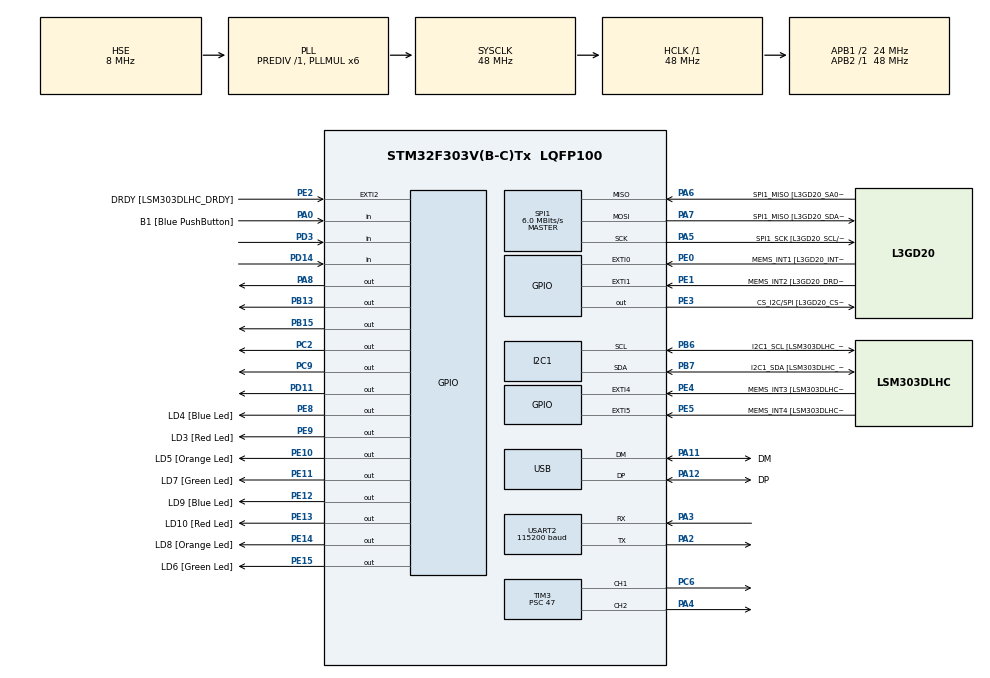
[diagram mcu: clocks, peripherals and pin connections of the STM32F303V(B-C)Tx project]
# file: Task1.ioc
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I2C1.Timing=0x00201D2B
I2C1.Timing-I2C=0x2000090E
Mcu.Family=STM32F3
Mcu.Name=STM32F303V(B-C)Tx
Mcu.Package=LQFP100
NVIC.PriorityGroup=NVIC_PRIORITYGROUP_0
NVIC.SPI1_IRQn=true\:0\:0\:false\:false\:true\:true\:true\:true
NVIC.TIM2_IRQn=true\:0\:0\:false\:false\:true\:true\:true\:true
PA0.GPIO_Label=B1 [Blue PushButton]
PA0.Signal=GPIO_Input
PA11.GPIO_Label=DM
PA11.Mode=Device
PA11.Signal=USB_DM
PA12.GPIO_Label=DP
PA12.Mode=Device
PA12.Signal=USB_DP
PA13.GPIO_Label=SWDIO
PA13.Mode=Serial_Wire
PA13.Signal=SYS_JTMS-SWDIO
PA14.GPIO_Label=SWCLK
PA14.Mode=Serial_Wire
PA14.Signal=SYS_JTCK-SWCLK
PA2.Mode=Asynchronous
PA2.Signal=USART2_TX
PA3.Mode=Asynchronous
PA3.Signal=USART2_RX
PA4.Signal=S_TIM3_CH2
PA5.GPIO_Label=SPI1_SCK [L3GD20_SCL/SPC]
PA5.Mode=Full_Duplex_Master
PA5.Signal=SPI1_SCK
PA6.GPIO_Label=SPI1_MISO [L3GD20_SA0/SDO]
PA6.Mode=Full_Duplex_Master
PA6.Signal=SPI1_MISO
PA7.GPIO_Label=SPI1_MISO [L3GD20_SDA/SDI/SDO]
PA7.Mode=Full_Duplex_Master
PA7.Signal=SPI1_MOSI
PA8.Signal=GPIO_Output
PB13.Signal=GPIO_Output
PB15.Signal=GPIO_Output
PB3.GPIO_Label=SWO
PB3.Signal=SYS_JTDO-TRACESWO
PB6.GPIO_Label=I2C1_SCL [LSM303DLHC_SCL]
PB6.GPIO_Pu=GPIO_PULLUP
PB6.Mode=I2C
PB6.Signal=I2C1_SCL
PB7.GPIO_Label=I2C1_SDA [LSM303DLHC_SDA]
PB7.GPIO_Pu=GPIO_PULLUP
PB7.Mode=I2C
PB7.Signal=I2C1_SDA
PC14-OSC32_IN.GPIO_Label=OSC32_IN
PC14-OSC32_IN.Signal=RCC_OSC32_IN
PC15-OSC32_OUT.GPIO_Label=OSC32_OUT
PC15-OSC32_OUT.Signal=RCC_OSC32_OUT
PC2.Signal=GPIO_Output
PC6.Signal=S_TIM3_CH1
PC9.Signal=GPIO_Output
PD11.Signal=GPIO_Output
PD14.Signal=GPIO_Input
PD3.Signal=GPIO_Input
PE0.GPIO_Label=MEMS_INT1 [L3GD20_INT1]
PE0.GPIO_ModeDefaultEXTI=GPIO_MODE_EVT_RISING
PE0.Signal=GPXTI0
PE1.GPIO_Label=MEMS_INT2 [L3GD20_DRDY/INT2]
PE1.GPIO_ModeDefaultEXTI=GPIO_MODE_EVT_RISING
PE1.Signal=GPXTI1
PE10.GPIO_Label=LD5 [Orange Led]
PE10.Signal=GPIO_Output
PE11.GPIO_Label=LD7 [Green Led]
PE11.Signal=GPIO_Output
PE12.GPIO_Label=LD9 [Blue Led]
PE12.Signal=GPIO_Output
PE13.GPIO_Label=LD10 [Red Led]
PE13.Signal=GPIO_Output
PE14.GPIO_Label=LD8 [Orange Led]
PE14.Signal=GPIO_Output
PE15.GPIO_Label=LD6 [Green Led]
PE15.Signal=GPIO_Output
PE2.GPIO_Label=DRDY [LSM303DLHC_DRDY]
PE2.GPIO_ModeDefaultEXTI=GPIO_MODE_EVT_RISING
PE2.Signal=GPXTI2
PE3.GPIO_Label=CS_I2C/SPI [L3GD20_CS_I2C/SPI]
PE3.Signal=GPIO_Output
PE4.GPIO_Label=MEMS_INT3 [LSM303DLHC_INT1]
PE4.GPIO_ModeDefaultEXTI=GPIO_MODE_EVT_RISING
PE4.Signal=GPXTI4
PE5.GPIO_Label=MEMS_INT4 [LSM303DLHC_INT2]
PE5.GPIO_ModeDefaultEXTI=GPIO_MODE_EVT_RISING
PE5.Signal=GPXTI5
PE8.GPIO_Label=LD4 [Blue Led]
PE8.Signal=GPIO_Output
PE9.GPIO_Label=LD3 [Red Led]
PE9.Signal=GPIO_Output
PF0-OSC_IN.GPIO_Label=OSC_IN
PF0-OSC_IN.Mode=HSE-External-Clock-Source
PF0-OSC_IN.Signal=RCC_OSC_IN
PF1-OSC_OUT.GPIO_Label=OSC_OUT
PF1-OSC_OUT.Signal=RCC_OSC_OUT
ProjectManager.HeapSize=0x200
ProjectManager.StackSize=0x400
ProjectManager.TargetToolchain=CMake
RCC.AHBFreq_Value=48000000
RCC.APB1CLKDivider=RCC_HCLK_DIV2
RCC.APB1Freq_Value=24000000
RCC.APB1TimFreq_Value=48000000
RCC.APB2Freq_Value=48000000
RCC.APB2TimFreq_Value=48000000
RCC.CortexFreq_Value=48000000
RCC.HCLKFreq_Value=48000000
RCC.HSE_VALUE=8000000
RCC.HSI_VALUE=8000000
RCC.LSE_VALUE=32768
RCC.PLLMUL=RCC_PLL_MUL6
RCC.SYSCLKFreq_VALUE=48000000
RCC.SYSCLKSourceVirtual=RCC_SYSCLKSOURCE_PLLCLK
RCC.USBFreq_Value=48000000
SH.S_TIM3_CH1.0=TIM3_CH1,PWM Generation1 CH1
SH.S_TIM3_CH2.0=TIM3_CH2,PWM Generation2 CH2
SPI1.BaudRatePrescaler=SPI_BAUDRATEPRESCALER_8
SPI1.BaudRatePrescaler-Full_Duplex_Master=SPI_BAUDRATEPRESCALER_2
SPI1.CLKPhase=SPI_PHASE_2EDGE
SPI1.CLKPolarity=SPI_POLARITY_HIGH
SPI1.CalculateBaudRate=6.0 MBits/s
SPI1.CalculateBaudRate-Full_Duplex_Master=24.0 MBits/s
SPI1.DataSize=SPI_DATASIZE_8BIT
SPI1.Direction=SPI_DIRECTION_2LINES
SPI1.Mode=SPI_MODE_MASTER
SPI1.Mode-Full_Duplex_Master=SPI_MODE_MASTER
SPI1.VirtualType=VM_MASTER
TIM2.Prescaler=47
TIM3.Channel-PWM\ Generation1\ CH1=TIM_CHANNEL_1
TIM3.Channel-PWM\ Generation2\ CH2=TIM_CHANNEL_2
TIM3.Period=999
TIM3.Prescaler=47
TIM3.Pulse-PWM\ Generation1\ CH1=500
USART2.BaudRate=115200
USART2.VirtualMode-Asynchronous=VM_ASYNC
VP_TIM2_VS_ClockSourceINT.Mode=Internal
board=STM32F3DISCOVERY

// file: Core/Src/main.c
/* USER CODE BEGIN Header */
/**
  ******************************************************************************
  * @file           : main.c
  * @brief          : Main program body
  ******************************************************************************
  * @attention
  *
  * Copyright (c) 2026 STMicroelectronics.
  * All rights reserved.
  *
  * This software is licensed under terms that can be found in the LICENSE file
  * in the root directory of this software component.
  * If no LICENSE file comes with this software, it is provided AS-IS.
  *
  ******************************************************************************
  */
/* USER CODE END Header */
#include "main.h"

/* USER CODE BEGIN Includes */

#include "stdarg.h"
#include "stdio.h"
#include "stm32f3xx_hal.h"
#include <string.h>
#include <math.h>

/* USER CODE END Includes */

I2C_HandleTypeDef hi2c1;

SPI_HandleTypeDef hspi1;

TIM_HandleTypeDef htim2;
TIM_HandleTypeDef htim3;

UART_HandleTypeDef huart2;

PCD_HandleTypeDef hpcd_USB_FS;

/* USER CODE BEGIN PV */

volatile float filtered_angle = 0.0f;
volatile float raw_acc_angle = 0.0f;
volatile float raw_gyro_rate = 0.0f;
volatile uint8_t data_ready = 0;
const float dt = 0.1f;

/* USER CODE END PV */

void SystemClock_Config(void);
static void MX_GPIO_Init(void);
static void MX_I2C1_Init(void);
static void MX_SPI1_Init(void);
static void MX_TIM3_Init(void);
static void MX_USB_PCD_Init(void);
static void MX_TIM2_Init(void);
static void MX_USART2_UART_Init(void);

/* USER CODE BEGIN 0 */

/* ---- Configuration Parameters ---- */
#define DT 0.01f                    // Complementary filter time step
#define COMP_FILTER_ALPHA 0.98f     // Gyro weight

/* ---- Accelerometer Configuration ---- */
#define LSM_ADDR_WRITE  0x32        // write address
#define LSM_ADDR_READ   0x33        // read address
#define CTRL_REG1_A     0x20        // Control register 1
#define CTRL_REG4_A     0x23        // Control register 4
#define OUT_X_L_A       0x28        // Output X low byte
#define LSM_INIT_CTRL1  0x67        // 100Hz, all axes enabled
#define LSM_INIT_CTRL4  0x00        // Normal mode
#define ACC_SCALE       0.0039f     // 3.9 mg/digit scale factor

/* ---- Gyroscope Configuration ---- */
#define GYRO_CTRL_REG1  0x20        // Control register 1
#define GYRO_OUT_X_L    0x28        // Output X low byte
#define GYRO_INIT_CTRL1 0x8F        // 95Hz ODR, all axes enabled
#define GYRO_SCALE      0.00875f    // 0.875 dps/digit scale factor
#define SPI_READ_BIT    0x80        // SPI read mode bit
#define SPI_AUTOINC_BIT 0x40        // SPI auto-increment bit

/* ---- Calibration Parameters ---- */
#define CALIB_SAMPLES   20          // Number of samples for offset calibration
#define CALIB_DELAY_MS  10          // Delay between calibration samples
#define ACC_Z_GRAVITY   1.0f        // Expected Z-axis acceleration at rest

typedef struct {
    // Accelerometer
    int16_t acc_raw_x, acc_raw_y, acc_raw_z;
    float acc_x, acc_y, acc_z;
    float acc_x_offset, acc_y_offset, acc_z_offset;

    // Gyroscope
    int16_t gyro_raw_x, gyro_raw_y, gyro_raw_z;
    float gyro_x, gyro_y, gyro_z;
    float gyro_x_offset, gyro_y_offset, gyro_z_offset;

    // Filtered Angles
    float angle_x; // Roll
    float angle_y; // Pitch
} SensorData;
/* USER CODE END PTD */

/* USER CODE BEGIN PD */

SensorData sens;

//acclereometer init and read functions
void Init_LSM(void) {
    uint8_t ctrl1 = LSM_INIT_CTRL1;  // all axes enabled
    HAL_I2C_Mem_Write(&hi2c1, LSM_ADDR_WRITE, CTRL_REG1_A, 1, &ctrl1, 1, HAL_MAX_DELAY);

    uint8_t ctrl4 = LSM_INIT_CTRL4;  // Normal mode configuration
    HAL_I2C_Mem_Write(&hi2c1, LSM_ADDR_WRITE, CTRL_REG4_A, 1, &ctrl4, 1, HAL_MAX_DELAY);
}

void Read_LSM(void) {
    uint8_t buffer[6];
    HAL_I2C_Mem_Read(&hi2c1, LSM_ADDR_READ, OUT_X_L_A | 0x80, 1, buffer, 6, HAL_MAX_DELAY);

    sens.acc_raw_x = (int16_t)((buffer[1] << 8) | buffer[0]);
    sens.acc_raw_y = (int16_t)((buffer[3] << 8) | buffer[2]);
    sens.acc_raw_z = (int16_t)((buffer[5] << 8) | buffer[4]);

    // Convert raw to acceleration and apply offset
    sens.acc_x = (sens.acc_raw_x * ACC_SCALE) - sens.acc_x_offset;
    sens.acc_y = (sens.acc_raw_y * ACC_SCALE) - sens.acc_y_offset;
    sens.acc_z = (sens.acc_raw_z * ACC_SCALE) - sens.acc_z_offset;
}

// gyro init and read functions
void Init_Gyro(void) {
    uint8_t tx[2] = {GYRO_CTRL_REG1, GYRO_INIT_CTRL1};
    HAL_GPIO_WritePin(GPIOE, GPIO_PIN_3, GPIO_PIN_RESET);  // CS LOW
    HAL_SPI_Transmit(&hspi1, tx, 2, HAL_MAX_DELAY);
    HAL_GPIO_WritePin(GPIOE, GPIO_PIN_3, GPIO_PIN_SET);    // CS HIGH
}

void Read_Gyro(void) {
    uint8_t tx = GYRO_OUT_X_L | 0x80 | 0x40;  // Read bit + auto-increment bit
    uint8_t rx[6] = {0};

    HAL_GPIO_WritePin(GPIOE, GPIO_PIN_3, GPIO_PIN_RESET);
    HAL_SPI_Transmit(&hspi1, &tx, 1, HAL_MAX_DELAY);
    HAL_SPI_Receive(&hspi1, rx, 6, HAL_MAX_DELAY);
    HAL_GPIO_WritePin(GPIOE, GPIO_PIN_3, GPIO_PIN_SET);

    sens.gyro_raw_x = (int16_t)((rx[1] << 8) | rx[0]);
    sens.gyro_raw_y = (int16_t)((rx[3] << 8) | rx[2]);
    sens.gyro_raw_z = (int16_t)((rx[5] << 8) | rx[4]);

    // Convert raw to angular velocity (dps) and apply offset
    sens.gyro_x = (sens.gyro_raw_x * GYRO_SCALE) - sens.gyro_x_offset;
    sens.gyro_y = (sens.gyro_raw_y * GYRO_SCALE) - sens.gyro_y_offset;
    sens.gyro_z = (sens.gyro_raw_z * GYRO_SCALE) - sens.gyro_z_offset;
}

void Offset_Sensors(void) {
    // Initialize accumulator variables
    float sum_ax = 0.0f, sum_ay = 0.0f, sum_az = 0.0f;
    float sum_gx = 0.0f, sum_gy = 0.0f, sum_gz = 0.0f;

    // Collect multiple samples for averaging
    for (uint8_t i = 0; i < CALIB_SAMPLES; i++) {
        Read_LSM();
        Read_Gyro();

        sum_ax += sens.acc_x;
        sum_ay += sens.acc_y;
        sum_az += (sens.acc_z - ACC_Z_GRAVITY);  // Remove gravity offset from Z

        sum_gx += sens.gyro_x;
        sum_gy += sens.gyro_y;
        sum_gz += sens.gyro_z;

        HAL_Delay(CALIB_DELAY_MS);
    }

    // Calculate and store average offsets
    float scale = 1.0f / CALIB_SAMPLES;
    sens.acc_x_offset = sum_ax * scale;
    sens.acc_y_offset = sum_ay * scale;
    sens.acc_z_offset = sum_az * scale;

    sens.gyro_x_offset = sum_gx * scale;
    sens.gyro_y_offset = sum_gy * scale;
    sens.gyro_z_offset = sum_gz * scale;
}

void Calculate_Angle(void) {
    // Calculate tilt angles from accelerometer
    float acc_angle_x = atan2f(sens.acc_y, sens.acc_z) * (180.0f / 3.14159f);
    float acc_angle_y = atan2f(-sens.acc_x, sqrtf(sens.acc_y * sens.acc_y + sens.acc_z * sens.acc_z)) * (180.0f / 3.14159f);

    float gyro_weight = COMP_FILTER_ALPHA;
    float acc_weight = 1.0f - gyro_weight;

    sens.angle_x = gyro_weight * (sens.angle_x + (sens.gyro_x * DT)) + acc_weight * acc_angle_x;
    sens.angle_y = gyro_weight * (sens.angle_y + (sens.gyro_y * DT)) + acc_weight * acc_angle_y;
}

void cout(const char *fmt, ...) {
    char buffer[128];
    va_list args;
    va_start(args, fmt);
    int l = vsnprintf(buffer, sizeof(buffer), fmt, args);
    va_end(args);
    if (l > 0) {
        HAL_UART_Transmit(&huart2, (uint8_t*)buffer, l, HAL_MAX_DELAY);
    }
}

void HAL_TIM_PeriodElapsedCallback(TIM_HandleTypeDef *htim) {
      if (htim->Instance == TIM2) {
        Read_LSM();
        Read_Gyro();
        Calculate_Angle();
        data_ready = 1;
    }
}

int main(void)
{

  /* MCU Configuration--------------------------------------------------------*/

  /* Reset of all peripherals, Initializes the Flash interface and the Systick. */
  HAL_Init();

  /* Configure the system clock */
  SystemClock_Config();

  /* Initialize all configured peripherals */
  MX_GPIO_Init();
  MX_I2C1_Init();
  MX_SPI1_Init();
  MX_TIM3_Init();
  MX_USB_PCD_Init();
  MX_TIM2_Init();
  MX_USART2_UART_Init();

  /* Infinite loop */
  /* USER CODE BEGIN WHILE */
  // Startt PWM for both motors

  // Set initial direction: FORWARD
  // D12 = HIGH, D8 = LOW for right motor forward
  // D7 = HIGH, D6 = LOW for left motor forward

  /* USER CODE END 2 */

  /* Infinite loop */
  /* USER CODE BEGIN WHILE */
  /* Infinite loop */
  /* USER CODE BEGIN WHILE */

  HAL_TIM_Base_Start_IT(&htim2);
  /* USER CODE BEGIN 2 */
  Init_LSM();
  Init_Gyro();
  Offset_Sensors();

  __HAL_TIM_CLEAR_FLAG(&htim2, TIM_FLAG_UPDATE); // Clear flag
  HAL_TIM_Base_Start_IT(&htim2);
  /* USER CODE END 2 */

    while (1) {
         if (data_ready) {
            int ax_i = (int)sens.angle_x;
            int ax_f = (int)(fabsf(sens.angle_x - ax_i) * 100);
            int ay_i = (int)sens.angle_y;
            int ay_f = (int)(fabsf(sens.angle_y - ay_i) * 100);
            cout("Roll: %d.%02d deg, Pitch: %d.%02d deg\r\n", ax_i, ax_f, ay_i, ay_f);
            data_ready = 0;
            HAL_Delay(100);
        }

    }

  /* USER CODE END 3 */
}

void SystemClock_Config(void)
{
  RCC_OscInitTypeDef RCC_OscInitStruct = {0};
  RCC_ClkInitTypeDef RCC_ClkInitStruct = {0};
  RCC_PeriphCLKInitTypeDef PeriphClkInit = {0};

  /** Initializes the RCC Oscillators according to the specified parameters
  * in the RCC_OscInitTypeDef structure.
  */
  RCC_OscInitStruct.OscillatorType = RCC_OSCILLATORTYPE_HSI|RCC_OSCILLATORTYPE_HSE;
  RCC_OscInitStruct.HSEState = RCC_HSE_BYPASS;
  RCC_OscInitStruct.HSEPredivValue = RCC_HSE_PREDIV_DIV1;
  RCC_OscInitStruct.HSIState = RCC_HSI_ON;
  RCC_OscInitStruct.HSICalibrationValue = RCC_HSICALIBRATION_DEFAULT;
  RCC_OscInitStruct.PLL.PLLState = RCC_PLL_ON;
  RCC_OscInitStruct.PLL.PLLSource = RCC_PLLSOURCE_HSE;
  RCC_OscInitStruct.PLL.PLLMUL = RCC_PLL_MUL6;
  if (HAL_RCC_OscConfig(&RCC_OscInitStruct) != HAL_OK)
  {
    Error_Handler();
  }

  /** Initializes the CPU, AHB and APB buses clocks
  */
  RCC_ClkInitStruct.ClockType = RCC_CLOCKTYPE_HCLK|RCC_CLOCKTYPE_SYSCLK
                              |RCC_CLOCKTYPE_PCLK1|RCC_CLOCKTYPE_PCLK2;
  RCC_ClkInitStruct.SYSCLKSource = RCC_SYSCLKSOURCE_PLLCLK;
  RCC_ClkInitStruct.AHBCLKDivider = RCC_SYSCLK_DIV1;
  RCC_ClkInitStruct.APB1CLKDivider = RCC_HCLK_DIV2;
  RCC_ClkInitStruct.APB2CLKDivider = RCC_HCLK_DIV1;

  if (HAL_RCC_ClockConfig(&RCC_ClkInitStruct, FLASH_LATENCY_1) != HAL_OK)
  {
    Error_Handler();
  }
  PeriphClkInit.PeriphClockSelection = RCC_PERIPHCLK_USB|RCC_PERIPHCLK_USART2
                              |RCC_PERIPHCLK_I2C1;
  PeriphClkInit.Usart2ClockSelection = RCC_USART2CLKSOURCE_PCLK1;
  PeriphClkInit.I2c1ClockSelection = RCC_I2C1CLKSOURCE_HSI;
  PeriphClkInit.USBClockSelection = RCC_USBCLKSOURCE_PLL;
  if (HAL_RCCEx_PeriphCLKConfig(&PeriphClkInit) != HAL_OK)
  {
    Error_Handler();
  }
}

static void MX_I2C1_Init(void)
{

  hi2c1.Instance = I2C1;
  hi2c1.Init.Timing = 0x00201D2B;
  hi2c1.Init.OwnAddress1 = 0;
  hi2c1.Init.AddressingMode = I2C_ADDRESSINGMODE_7BIT;
  hi2c1.Init.DualAddressMode = I2C_DUALADDRESS_DISABLE;
  hi2c1.Init.OwnAddress2 = 0;
  hi2c1.Init.OwnAddress2Masks = I2C_OA2_NOMASK;
  hi2c1.Init.GeneralCallMode = I2C_GENERALCALL_DISABLE;
  hi2c1.Init.NoStretchMode = I2C_NOSTRETCH_DISABLE;
  if (HAL_I2C_Init(&hi2c1) != HAL_OK)
  {
    Error_Handler();
  }

  /** Configure Analogue filter
  */
  if (HAL_I2CEx_ConfigAnalogFilter(&hi2c1, I2C_ANALOGFILTER_ENABLE) != HAL_OK)
  {
    Error_Handler();
  }

  /** Configure Digital filter
  */
  if (HAL_I2CEx_ConfigDigitalFilter(&hi2c1, 0) != HAL_OK)
  {
    Error_Handler();
  }

}

static void MX_SPI1_Init(void)
{

  /* SPI1 parameter configuration*/
  hspi1.Instance = SPI1;
  hspi1.Init.Mode = SPI_MODE_MASTER;
  hspi1.Init.Direction = SPI_DIRECTION_2LINES;
  hspi1.Init.DataSize = SPI_DATASIZE_8BIT;
  hspi1.Init.CLKPolarity = SPI_POLARITY_HIGH;
  hspi1.Init.CLKPhase = SPI_PHASE_2EDGE;
  hspi1.Init.NSS = SPI_NSS_SOFT;
  hspi1.Init.BaudRatePrescaler = SPI_BAUDRATEPRESCALER_8;
  hspi1.Init.FirstBit = SPI_FIRSTBIT_MSB;
  hspi1.Init.TIMode = SPI_TIMODE_DISABLE;
  hspi1.Init.CRCCalculation = SPI_CRCCALCULATION_DISABLE;
  hspi1.Init.CRCPolynomial = 7;
  hspi1.Init.CRCLength = SPI_CRC_LENGTH_DATASIZE;
  hspi1.Init.NSSPMode = SPI_NSS_PULSE_DISABLE;
  if (HAL_SPI_Init(&hspi1) != HAL_OK)
  {
    Error_Handler();
  }

}

static void MX_TIM2_Init(void)
{

  TIM_ClockConfigTypeDef sClockSourceConfig = {0};
  TIM_MasterConfigTypeDef sMasterConfig = {0};

  htim2.Instance = TIM2;
  htim2.Init.Prescaler = 719;
  htim2.Init.CounterMode = TIM_COUNTERMODE_UP;
  htim2.Init.Period = 999;
  htim2.Init.ClockDivision = TIM_CLOCKDIVISION_DIV1;
  htim2.Init.AutoReloadPreload = TIM_AUTORELOAD_PRELOAD_DISABLE;
  if (HAL_TIM_Base_Init(&htim2) != HAL_OK)
  {
    Error_Handler();
  }
  sClockSourceConfig.ClockSource = TIM_CLOCKSOURCE_INTERNAL;
  if (HAL_TIM_ConfigClockSource(&htim2, &sClockSourceConfig) != HAL_OK)
  {
    Error_Handler();
  }
  sMasterConfig.MasterOutputTrigger = TIM_TRGO_RESET;
  sMasterConfig.MasterSlaveMode = TIM_MASTERSLAVEMODE_DISABLE;
  if (HAL_TIMEx_MasterConfigSynchronization(&htim2, &sMasterConfig) != HAL_OK)
  {
    Error_Handler();
  }

}

static void MX_TIM3_Init(void)
{

  TIM_MasterConfigTypeDef sMasterConfig = {0};
  TIM_OC_InitTypeDef sConfigOC = {0};

  htim3.Instance = TIM3;
  htim3.Init.Prescaler = 47;
  htim3.Init.CounterMode = TIM_COUNTERMODE_UP;
  htim3.Init.Period = 999;
  htim3.Init.ClockDivision = TIM_CLOCKDIVISION_DIV1;
  htim3.Init.AutoReloadPreload = TIM_AUTORELOAD_PRELOAD_DISABLE;
  if (HAL_TIM_PWM_Init(&htim3) != HAL_OK)
  {
    Error_Handler();
  }
  sMasterConfig.MasterOutputTrigger = TIM_TRGO_RESET;
  sMasterConfig.MasterSlaveMode = TIM_MASTERSLAVEMODE_DISABLE;
  if (HAL_TIMEx_MasterConfigSynchronization(&htim3, &sMasterConfig) != HAL_OK)
  {
    Error_Handler();
  }
  sConfigOC.OCMode = TIM_OCMODE_PWM1;
  sConfigOC.Pulse = 500;
  sConfigOC.OCPolarity = TIM_OCPOLARITY_HIGH;
  sConfigOC.OCFastMode = TIM_OCFAST_DISABLE;
  if (HAL_TIM_PWM_ConfigChannel(&htim3, &sConfigOC, TIM_CHANNEL_1) != HAL_OK)
  {
    Error_Handler();
  }
  sConfigOC.Pulse = 0;
  if (HAL_TIM_PWM_ConfigChannel(&htim3, &sConfigOC, TIM_CHANNEL_2) != HAL_OK)
  {
    Error_Handler();
  }
  HAL_TIM_MspPostInit(&htim3);

}

static void MX_USART2_UART_Init(void)
{

  huart2.Instance = USART2;
  huart2.Init.BaudRate = 115200;
  huart2.Init.WordLength = UART_WORDLENGTH_8B;
  huart2.Init.StopBits = UART_STOPBITS_1;
  huart2.Init.Parity = UART_PARITY_NONE;
  huart2.Init.Mode = UART_MODE_TX_RX;
  huart2.Init.HwFlowCtl = UART_HWCONTROL_NONE;
  huart2.Init.OverSampling = UART_OVERSAMPLING_16;
  huart2.Init.OneBitSampling = UART_ONE_BIT_SAMPLE_DISABLE;
  huart2.AdvancedInit.AdvFeatureInit = UART_ADVFEATURE_NO_INIT;
  if (HAL_UART_Init(&huart2) != HAL_OK)
  {
    Error_Handler();
  }

}

static void MX_USB_PCD_Init(void)
{

  hpcd_USB_FS.Instance = USB;
  hpcd_USB_FS.Init.dev_endpoints = 8;
  hpcd_USB_FS.Init.speed = PCD_SPEED_FULL;
  hpcd_USB_FS.Init.phy_itface = PCD_PHY_EMBEDDED;
  hpcd_USB_FS.Init.low_power_enable = DISABLE;
  hpcd_USB_FS.Init.battery_charging_enable = DISABLE;
  if (HAL_PCD_Init(&hpcd_USB_FS) != HAL_OK)
  {
    Error_Handler();
  }

}

static void MX_GPIO_Init(void)
{
  GPIO_InitTypeDef GPIO_InitStruct = {0};

  /* GPIO Ports Clock Enable */
  __HAL_RCC_GPIOE_CLK_ENABLE();
  __HAL_RCC_GPIOC_CLK_ENABLE();
  __HAL_RCC_GPIOF_CLK_ENABLE();
  __HAL_RCC_GPIOA_CLK_ENABLE();
  __HAL_RCC_GPIOB_CLK_ENABLE();
  __HAL_RCC_GPIOD_CLK_ENABLE();

  /*Configure GPIO pin Output Level */
  HAL_GPIO_WritePin(GPIOE, CS_I2C_SPI_Pin|LD4_Pin|LD3_Pin|LD5_Pin
                          |LD7_Pin|LD9_Pin|LD10_Pin|LD8_Pin
                          |LD6_Pin, GPIO_PIN_RESET);

  /*Configure GPIO pin Output Level */
  HAL_GPIO_WritePin(GPIOC, GPIO_PIN_2|GPIO_PIN_9, GPIO_PIN_RESET);

  /*Configure GPIO pin Output Level */
  HAL_GPIO_WritePin(GPIOB, GPIO_PIN_13|GPIO_PIN_15, GPIO_PIN_RESET);

  /*Configure GPIO pin Output Level */
  HAL_GPIO_WritePin(GPIOD, GPIO_PIN_11, GPIO_PIN_RESET);

  /*Configure GPIO pin Output Level */
  HAL_GPIO_WritePin(GPIOA, GPIO_PIN_8, GPIO_PIN_RESET);

  /*Configure GPIO pins : DRDY_Pin MEMS_INT3_Pin MEMS_INT4_Pin MEMS_INT1_Pin
                           MEMS_INT2_Pin */
  GPIO_InitStruct.Pin = DRDY_Pin|MEMS_INT3_Pin|MEMS_INT4_Pin|MEMS_INT1_Pin
                          |MEMS_INT2_Pin;
  GPIO_InitStruct.Mode = GPIO_MODE_EVT_RISING;
  GPIO_InitStruct.Pull = GPIO_NOPULL;
  HAL_GPIO_Init(GPIOE, &GPIO_InitStruct);

  /*Configure GPIO pins : CS_I2C_SPI_Pin LD4_Pin LD3_Pin LD5_Pin
                           LD7_Pin LD9_Pin LD10_Pin LD8_Pin
                           LD6_Pin */
  GPIO_InitStruct.Pin = CS_I2C_SPI_Pin|LD4_Pin|LD3_Pin|LD5_Pin
                          |LD7_Pin|LD9_Pin|LD10_Pin|LD8_Pin
                          |LD6_Pin;
  GPIO_InitStruct.Mode = GPIO_MODE_OUTPUT_PP;
  GPIO_InitStruct.Pull = GPIO_NOPULL;
  GPIO_InitStruct.Speed = GPIO_SPEED_FREQ_LOW;
  HAL_GPIO_Init(GPIOE, &GPIO_InitStruct);

  /*Configure GPIO pins : PC2 PC9 */
  GPIO_InitStruct.Pin = GPIO_PIN_2|GPIO_PIN_9;
  GPIO_InitStruct.Mode = GPIO_MODE_OUTPUT_PP;
  GPIO_InitStruct.Pull = GPIO_NOPULL;
  GPIO_InitStruct.Speed = GPIO_SPEED_FREQ_LOW;
  HAL_GPIO_Init(GPIOC, &GPIO_InitStruct);

  /*Configure GPIO pin : B1_Pin */
  GPIO_InitStruct.Pin = B1_Pin;
  GPIO_InitStruct.Mode = GPIO_MODE_INPUT;
  GPIO_InitStruct.Pull = GPIO_NOPULL;
  HAL_GPIO_Init(B1_GPIO_Port, &GPIO_InitStruct);

  /*Configure GPIO pins : PB13 PB15 */
  GPIO_InitStruct.Pin = GPIO_PIN_13|GPIO_PIN_15;
  GPIO_InitStruct.Mode = GPIO_MODE_OUTPUT_PP;
  GPIO_InitStruct.Pull = GPIO_NOPULL;
  GPIO_InitStruct.Speed = GPIO_SPEED_FREQ_LOW;
  HAL_GPIO_Init(GPIOB, &GPIO_InitStruct);

  /*Configure GPIO pin : PD11 */
  GPIO_InitStruct.Pin = GPIO_PIN_11;
  GPIO_InitStruct.Mode = GPIO_MODE_OUTPUT_PP;
  GPIO_InitStruct.Pull = GPIO_NOPULL;
  GPIO_InitStruct.Speed = GPIO_SPEED_FREQ_LOW;
  HAL_GPIO_Init(GPIOD, &GPIO_InitStruct);

  /*Configure GPIO pins : PD14 PD3 */
  GPIO_InitStruct.Pin = GPIO_PIN_14|GPIO_PIN_3;
  GPIO_InitStruct.Mode = GPIO_MODE_INPUT;
  GPIO_InitStruct.Pull = GPIO_NOPULL;
  HAL_GPIO_Init(GPIOD, &GPIO_InitStruct);

  /*Configure GPIO pin : PA8 */
  GPIO_InitStruct.Pin = GPIO_PIN_8;
  GPIO_InitStruct.Mode = GPIO_MODE_OUTPUT_PP;
  GPIO_InitStruct.Pull = GPIO_NOPULL;
  GPIO_InitStruct.Speed = GPIO_SPEED_FREQ_LOW;
  HAL_GPIO_Init(GPIOA, &GPIO_InitStruct);

}

void Error_Handler(void)
{
  __disable_irq();
  while (1)
  {
  }
}
